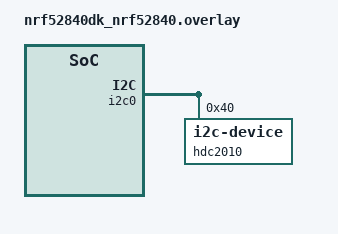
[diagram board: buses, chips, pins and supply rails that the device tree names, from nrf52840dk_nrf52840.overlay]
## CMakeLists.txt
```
cmake_minimum_required(VERSION 3.20.0)
find_package(Zephyr REQUIRED HINTS $ENV{ZEPHYR_BASE})

project(p1)

target_sources(app PRIVATE src/main.c)
```

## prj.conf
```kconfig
CONFIG_I2C=y

CONFIG_CBPRINTF_FP_SUPPORT=y
```

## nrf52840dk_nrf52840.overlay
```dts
// To get started, press Ctrl+Space to bring up the completion menu and view the available nodes.

// You can also use the buttons in the sidebar to perform actions on nodes.
// Actions currently available include:

// * Enabling / disabling the node
// * Adding the bus to a bus
// * Removing the node
// * Connecting ADC channels

// For more help, browse the DeviceTree documentation at https: //docs.zephyrproject.org/latest/guides/dts/index.html
// You can also visit the nRF DeviceTree extension documentation at https: //nrfconnect.github.io/vscode-nrf-connect/devicetree/nrfdevicetree.html
&i2c0 {
    status = "okay";
    hdc2010: hdc2010@40 {
        compatible = "i2c-device";
        status = "okay";
        reg = <0x40>;
    };
};
```

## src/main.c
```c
#include <zephyr/kernel.h>
#include <zephyr/drivers/i2c.h>
#include <zephyr/device.h>
#include <zephyr/devicetree.h>
#include <zephyr/sys/printk.h>
#include <zephyr/drivers/gpio.h>
#define I2C_NODE DT_NODELABEL(hdc2010)
#include "hdc2010.h"
// config reg
// config reg

#define SW0_NODE DT_ALIAS(sw5)
int temp;
static const struct gpio_dt_spec button = GPIO_DT_SPEC_GET(SW0_NODE, gpios);
static const struct i2c_dt_spec hdc2010 = I2C_DT_SPEC_GET(I2C_NODE);

volatile int dataReady = 0;
static struct gpio_callback button_cb_data;

void button_pressed(const struct device *dev, struct gpio_callback *cb, uint32_t pins)
{
        dataReady = 1;
        printk("interrupt triggered\n");
        /// Hdc2010ReadingTemperature(&hdc2010, &temp);
        //  triggerMeasurement(&hdc2010);
}
int main(void)
{
        int ret;
        if (!device_is_ready(button.port))
        {
                printk("inti problem\n");
                return 0;
        }
        //    static const struct i2c_dt_spec hdc2010 = I2C_DT_SPEC_GET(I2C_NODE);
        if (!device_is_ready(hdc2010.bus))
        {
                printk("device is not ready\n");
                return 0;
        }

        hdc2010Init(&hdc2010);

        k_msleep(3);
        printk("init completed\n");
        ret = gpio_pin_configure_dt(&button, GPIO_INPUT);
        ret = gpio_pin_interrupt_configure_dt(&button, GPIO_INT_EDGE_TO_ACTIVE);
        if (ret)
        {
                printk("error\n");
                return 0;
        }

        gpio_init_callback(&button_cb_data, button_pressed, BIT(button.pin));
        gpio_add_callback(button.port, &button_cb_data);
        int temp;

        // Hdc2010ReadingTemperature(&hdc2010, &temp);
        //  temp part
        uint8_t tempReg[2] = {MEASUREMENT_CONFIG, 0};
        uint8_t oldConfig;
        ret = i2c_write_read_dt(&hdc2010, &tempReg[0], 1, &oldConfig, 1);
        if (ret)
        {
                printk("writing in reg problem\n");
                return -1;
        }
        printk("%x measurement\n", oldConfig);
        tempReg[0] = CONFIG_REG;

        ret = i2c_write_read_dt(&hdc2010, &tempReg[0], 1, &oldConfig, 1);
        if (ret)
        {
                printk("writing in reg problem\n");
                return -1;
        }

        printk("%x config\n", oldConfig);
        if (ret)
        {
                printk("error\n");
                return 0;
        }
        hdc2010Init(&hdc2010);

        k_msleep(3);
        hdc_enable_interrupt(&hdc2010);
        ret = setThresholdTempMax(&hdc2010,110);
        ret = setThresholdTempMin(&hdc2010,110);

        hdc2010_enableTHRESMaxInterrupt(&hdc2010);
        hdc2010_enableTHRESMinInterrupt(&hdc2010);

        hdc2010_setInterruptPolarity(&hdc2010, 1);
        // if (ret)
        // {
        //         printk("setting threshold not possible\n");
        //         return -1;
        // }

        // Hdc2010ReadingTemperature(&hdc2010, &t);
        while (1)
        {

                if (dataReady)
                {
                        Hdc2010ReadingTemperature(&hdc2010, &temp);
                        dataReady = 0;
                }
        }
        return 0;
}
```

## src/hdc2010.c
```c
#include <zephyr/kernel.h>
#include <zephyr/drivers/i2c.h>
#include <zephyr/device.h>
#include <zephyr/devicetree.h>
#include <zephyr/sys/printk.h>
#include <zephyr/drivers/gpio.h>
#include "hdc2010.h"
// init flag
int initFlag = 0;
// init temp flag
int tempFlag = 0;
// init hum flag
int humFlag = 0;

uint8_t config[2] = {CONFIG_REG, 0x80};

int readDeviceId(const struct i2c_dt_spec *hdc2010, uint16_t *id, uint16_t *id1)
{
    int ret;
    // first reading device id
    uint8_t reg[2] = {DEVICE_ID_L, DEVICE_ID_H};
    uint8_t device_id[2] = {DEVICE_ID_L, DEVICE_ID_H};
    ret = i2c_write_read_dt(hdc2010, &reg[0], 1, &device_id[0], 1);
    if (ret)
    {
        printk("device id error\n");
        return -1;
    }
    ret = i2c_write_read_dt(hdc2010, &reg[1], 1, &device_id[1], 1);
    if (ret)
    {
        printk("device id error\n");
        return -1;
    }
    *id = (device_id[1] << 8) | device_id[0];
    // second reading menu id
    reg[0] = MENU_ID_L;
    reg[1] = MENU_ID_H;
    ret = i2c_write_read_dt(hdc2010, &reg[0], 1, &device_id[0], 1);
    if (ret)
    {
        printk("menu id error\n");
        return -1;
    }
    ret = i2c_write_read_dt(hdc2010, &reg[1], 1, &device_id[1], 1);
    if (ret)
    {
        printk("menu id error");
        return -1;
    }
    *id1 = (device_id[1] << 8) | device_id[0];
    printk("%x %x device id and menu id\n", *id, *id1);
    return 0;
}

int hdc2010Init(const struct i2c_dt_spec *hdc2010)
{
    uint8_t oldConfig;
    int ret;
    if (initFlag)
    {
        return 0;
    }

    uint8_t tempReg[2] = {CONFIG_REG, 0};

    ret = i2c_write_read_dt(hdc2010, &tempReg[0], 1, &oldConfig, 1);
    if (ret)
    {
        printk("writing in reg problem\n");
        return -1;
    }
    uint8_t newConfig = oldConfig | 7 << 4;
    config[1] = newConfig;
    ret = i2c_write_dt(hdc2010, config, sizeof(config));
    if (ret != 0)
    {
        printk("soft reseting is fail\n");
        return -1;
    }

    /*
    Bits 2 and 1 of the MEASUREMENT_CONFIG register controls
    the measurement mode
    */
    // Upper two bits of the MEASUREMENT_CONFIG register controls the temperature resolution
    // default value is 14
    // Bit 0 of the MEASUREMENT_CONFIG register can be used to trigger measurements

    config[0] = MEASUREMENT_CONFIG;
    config[1] = 0X4b;
    ret = i2c_write_dt(hdc2010, config, sizeof(config));
    if (ret != 0)
    {
        printk("setup measurement config failed \n");
        return -1;
    }
    initFlag = 1;
    tempFlag = 1;
    return 0;
}

int hdc2010DeInit()
{
    tempFlag = 0;
    humFlag = 0;
    initFlag = 0;
    return 0;
}

int Hdc2010ReadingTemperature(const struct i2c_dt_spec *hdc2010, int *val)
{
    int ret;
    volatile uint16_t temp;
    float intermediate, value;
    hdc2010Init(hdc2010);
    uint8_t tempReg[2] = {TEMP_L, TEMP_H};
    uint8_t reading[2];
    ret = i2c_write_read_dt(hdc2010, &tempReg[0], 1, &reading[0], 1);
    if (ret)
    {
        printk("failed at reading temperature\n");
        return -1;
    }
    ret = i2c_write_read_dt(hdc2010, &tempReg[1], 1, &reading[1], 1);
    if (ret)
    {
        printk("failed at reading temperature\n");
        return -1;
    }
    temp = (reading[1] << 8) | reading[0];
    intermediate = temp / 65536.0;
    intermediate = intermediate * 165;
    value = intermediate - 40.00;
    *val = value;
    printk("%0.2f C\n", value);
    hdc2010DeInit();
    return 0;
}

int hdc_enable_interrupt(const struct i2c_dt_spec *hdc2010)
{
    uint8_t oldConfig;
    int ret;
    uint8_t tempReg[2] = {CONFIG_REG, 0};

    ret = i2c_write_read_dt(hdc2010, &tempReg[0], 1, &oldConfig, 1);
    if (ret)
    {
        printk("reading in reg problem int\n");
        return -1;
    }
    uint8_t newConfig = oldConfig | 1 << 2 | 1 << 0; // setting intEn pin in config reg
    tempReg[1] = newConfig;

    ret = i2c_write_dt(hdc2010, tempReg, sizeof(tempReg));
    if (ret)
    {
        printk("setting int pin is not set\n");
        return -1;
    }
    return ret;
}

int hdc2010_setInterruptPolarity(const struct i2c_dt_spec *hdc2010, int polarity)
{
    uint8_t oldConfig;
    int ret;
    uint8_t tempReg[2] = {CONFIG_REG, 0};

    ret = i2c_write_read_dt(hdc2010, &tempReg[0], 1, &oldConfig, 1);
    if (ret)
    {
        printk("writing in reg problem\n");
        return -1;
    }
    uint16_t newConfig;
    if (polarity)
    {
        newConfig = oldConfig | 1 << 1; // setting polarity of pin active high
    }
    else
    {
        newConfig = oldConfig & ~(1 << 1); // setting polarity of pin active low
    }
    tempReg[1] = newConfig;
    newConfig = newConfig | 1 << 0;
    ret = i2c_write_dt(hdc2010, tempReg, sizeof(tempReg));
    if (ret)
    {
        printk("setting int pin is not set\n");
        return -1;
    }
    return ret;
}
// trigger reading
int triggerMeasurement(const struct i2c_dt_spec *hdc2010)
{
    uint8_t oldConfig;
    int ret;
    uint8_t tempReg[2] = {MEASUREMENT_CONFIG, 0};

    ret = i2c_write_read_dt(hdc2010, &tempReg[0], 1, &oldConfig, 1);
    if (ret)
    {
        printk("writing in reg problem\n");
        return -1;
    }
    uint8_t newConfig = oldConfig | 1 << 0; // setting start measurement
    tempReg[1] = newConfig;

    ret = i2c_write_dt(hdc2010, tempReg, sizeof(tempReg));
    if (ret)
    {
        printk("setting int pin is not set\n");
        return -1;
    }
    return 0;
}
// setting up drdy bit
int hdc2010_enableDRDYInterrupt(const struct i2c_dt_spec *hdc2010)
{
    uint8_t config;
    int ret;
    uint8_t tempReg[2] = {INTERRUPT_CONFIG, 0};

    ret = i2c_write_read_dt(hdc2010, &tempReg[0], 1, &config, 1);
    if (ret)
    {
        printk("writing in reg problem\n");
        return -1;
    }
    uint8_t newConfig = config | 1 << 7; // setting intEn pin in config reg
    tempReg[1] = newConfig;

    ret = i2c_write_dt(hdc2010, tempReg, sizeof(tempReg));
    if (ret)
    {
        printk("setting int pin is not set\n");
        return -1;
    }
    return 0;
}

// setting up interrupt drdy
int HDC2010_Enable_DRDY_Interrupt(const struct i2c_dt_spec *hdc2010, int polarity)
{

    int ret = hdc2010_enableDRDYInterrupt(hdc2010);
    ret = hdc_enable_interrupt(hdc2010);
    if (ret)
    {
        printk("hdc2010 enable interrupt error\n");
        return -1;
    }
    ret = hdc2010_setInterruptPolarity(hdc2010, polarity);
    if (ret)
    {
        printk("hdc2010 enabling polarity error\n");
    }
    ret = triggerMeasurement(hdc2010);

    return 0;
}
int hdc2010_enableTHRESMaxInterrupt(const struct i2c_dt_spec *hdc2010)
{
    uint8_t config;
    int ret;
    uint8_t tempReg[2] = {INTERRUPT_CONFIG, 0};

    ret = i2c_write_read_dt(hdc2010, &tempReg[0], 1, &config, 1);
    if (ret)
    {
        printk("writing in reg problem\n");
        return -1;
    }
    uint8_t newConfig = config | 1 << 6; // setting intEn pin in config reg
    tempReg[1] = newConfig;

    ret = i2c_write_dt(hdc2010, tempReg, sizeof(tempReg));
    if (ret)
    {
        printk("setting int pin is not set\n");
        return -1;
    }
    return 0;
}

int hdc2010_enableTHRESMinInterrupt(const struct i2c_dt_spec *hdc2010)
{
    uint8_t config;
    int ret;
    uint8_t tempReg[2] = {INTERRUPT_CONFIG, 0};

    ret = i2c_write_read_dt(hdc2010, &tempReg[0], 1, &config, 1);
    if (ret)
    {
        printk("writing in reg problem\n");
        return -1;
    }
    uint8_t newConfig = config | 1 << 5; // setting intEn pin in config reg
    tempReg[1] = newConfig;

    ret = i2c_write_dt(hdc2010, tempReg, sizeof(tempReg));
    if (ret)
    {
        printk("setting int pin is not set\n");
        return -1;
    }
    return 0;
}

int setThresholdTempMax(const struct i2c_dt_spec *hdc2010, uint8_t data)
{

    uint8_t temp[2] = {0x0b, data};
    int ret = i2c_write_dt(hdc2010, temp, sizeof(temp));
    return 0;
}
int setThresholdTempMin(const struct i2c_dt_spec *hdc2010, uint8_t data)
{
    uint8_t temp[2] = {
        0x0a, data};
    int ret = i2c_write_dt(hdc2010, temp, sizeof(temp));
    return 0;
}
```

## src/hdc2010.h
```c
// config reg
// config reg
#include <zephyr/kernel.h>
#include <zephyr/drivers/i2c.h>
#include <zephyr/device.h>
#include <zephyr/devicetree.h>
#include <zephyr/sys/printk.h>
#include <zephyr/drivers/gpio.h>
#define CONFIG_REG 0X0E
#define MEASUREMENT_CONFIG 0x0F
// who i am reg
#define DEVICE_ID_L 0xFE
#define DEVICE_ID_H 0xFF

// menu id
#define MENU_ID_L 0xFC
#define MENU_ID_H 0xFD

// reading temp reg
#define TEMP_L 0X00
#define TEMP_H 0X01

// config interrupt pin
#define INTERRUPT_CONFIG 0x07
int readDeviceId(const struct i2c_dt_spec *hdc2010, uint16_t *id, uint16_t *id1);
int hdc2010Init(const struct i2c_dt_spec *hdc2010);
int hdc2010DeInit();
int Hdc2010ReadingTemperature(const struct i2c_dt_spec *hdc2010, int *val);
int hdc_enable_interrupt(const struct i2c_dt_spec *hdc2010);
int hdc2010_setInterruptPolarity(const struct i2c_dt_spec *hdc2010, int polarity);
int triggerMeasurement(const struct i2c_dt_spec *hdc2010);
int hdc2010_enableDRDYInterrupt(const struct i2c_dt_spec *hdc2010);
int HDC2010_Enable_DRDY_Interrupt(const struct i2c_dt_spec *hdc2010, int polarity);
int hdc2010_enableTHRESMaxInterrupt(const struct i2c_dt_spec *hdc2010);
int hdc2010_enableTHRESMinInterrupt(const struct i2c_dt_spec *hdc2010);
int setThresholdTempMax(const struct i2c_dt_spec *hdc2010,uint8_t data);
int setThresholdTempMin(const struct i2c_dt_spec *hdc2010,uint8_t data);
```
